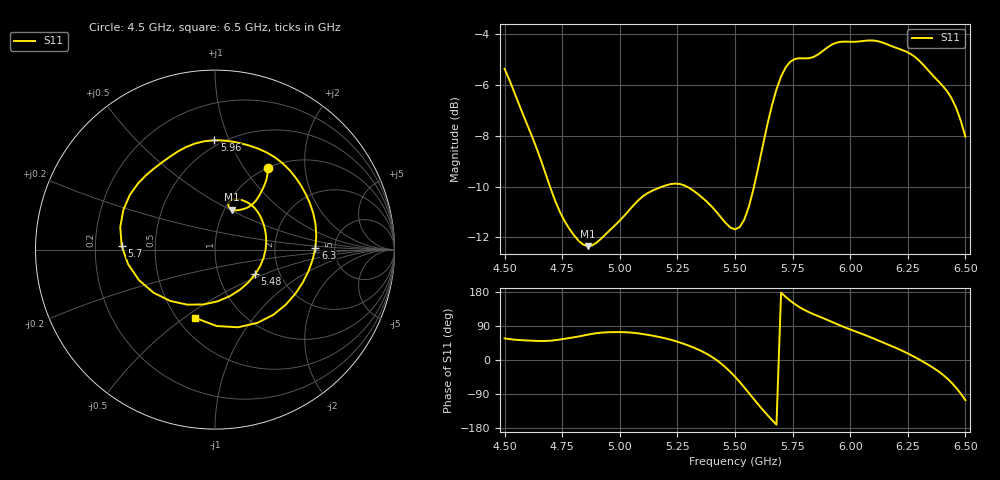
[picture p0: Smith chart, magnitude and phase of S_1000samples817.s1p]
! TOUCHSTONE file generated by CST MICROWAVE STUDIO
! Date and time: Sat Oct 29 12:04:02 2022
! Project name: L.cst
! Parameters = {Di=1.27; Epsilon_r=1.56; InnerDiameter=1.27; Length=2; Lf=10; Lg=60; OuterConductorThickness=0.2921; OuterDiameter=3.6; Wf=3; Wp=41.2; de=1.5; df=6.8; g=0.8; gx=0.846383; gy=2.08253; h=2.34; hf=1.524; px=11.99; py=10.5663; w=9.7; wx=11.1437; wy=8.48378}
! Header version: 2018
! Port assignment regex: !\s*Touchstone port\s*([0-9]+)\s*=\s*(CST MWS port|CST DS port)\s*([0-9]+|Zmin|Zmax)\s*\(\"(.*)\"\)(\s*mode\s*([0-9]+))?.*
! Touchstone port assignment:
! Touchstone port 1 = CST MWS port 1 ("")
# GHz S DB R 50
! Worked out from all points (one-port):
!   101 points, 4.5 GHz to 6.5 GHz, reference 50 ohm
!   lowest |S11| = -12.3 dB at 4.86 GHz (marker M1), VSWR 1.64, Z = 54.3 + j25.6 ohm
!   |S11| at or under -10 dB: 4.697 GHz to 5.185 GHz (488.3 MHz wide, 9.88 % of centre); 5.29 GHz to 5.583 GHz (292.5 MHz wide, 5.38 % of centre)
!   S11 on the Smith chart (normalised r, x): 4.5 GHz: 1.01, +1.29; 5.48 GHz: 1.50, -0.44; 5.7 GHz: 0.32, +0.02; 5.96 GHz: 0.46, +0.88; 6.3 GHz: 3.53, +0.11; 6.5 GHz: 0.61, -0.55
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4.5  -5.37 57.0
4.64  -8.52 50.4
4.76  -11.35 55.9
4.86  -12.35 66.7
5  -11.34 73.6
5.14  -10.17 64.4
5.26  -9.90 46.3
5.4  -10.80 8.1
5.48  -11.61 -31.4
5.5  -11.68 -44.1
5.54  -11.31 -72.1
5.6  -9.29 -116.7
5.64  -7.58 -144.8
5.68  -6.17 -170.6
5.7  -5.67 177.6
5.72  -5.31 166.5
5.76  -4.98 147.3
5.84  -4.90 121.1
5.96  -4.30 90.3
6  -4.30 80.6
6.12  -4.28 52.0
6.2  -4.54 31.4
6.26  -4.77 14.2
6.3  -5.05 1.1
6.36  -5.64 -20.5
6.4  -6.02 -37.8
6.46  -6.91 -73.4
6.5  -8.04 -106.1
